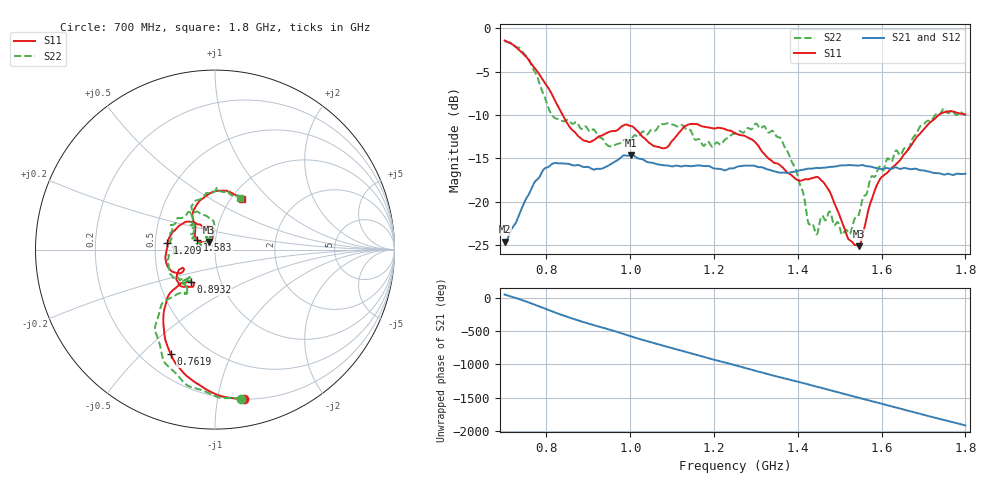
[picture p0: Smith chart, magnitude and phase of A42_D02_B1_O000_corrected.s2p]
! Created with skrf 1.9.0 (http://scikit-rf.org).
# Hz S RI R 50.0
!freq ReS11 ImS11 ReS21 ImS21 ReS12 ImS12 ReS22 ImS22
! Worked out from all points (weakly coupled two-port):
!   1601 points, 700 MHz to 1.8 GHz, reference 50 ohm
!   highest |S21| = -14.59 dB at 1.002 GHz (marker M1); lowest = -24.6 dB at 700.7 MHz (marker M2)
!   lowest |S11| = -25.1 dB at 1.546 GHz (marker M3), VSWR 1.12, Z = 46.4 + j4 ohm
!   |S11| at or under -10 dB: 838.5 MHz to 1.736 GHz (897.2 MHz wide, 69.7 % of centre)
!   |S22| runs from -23.8 to -1.5 dB; largest |S21 - S12| = 0.0035
!   S11 on the Smith chart (normalised r, x): 700 MHz: 0.20, -1.19; 761.9 MHz: 0.32, -0.62; 893.2 MHz: 0.72, -0.27; 1.209 GHz: 0.58, +0.04; 1.583 GHz: 0.81, +0.09; 1.8 GHz: 1.12, +0.70
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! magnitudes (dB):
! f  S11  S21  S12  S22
! 700 MHz  -1.4  -24.6  -24.4  -1.5
! 700.7 MHz  -1.4  -24.6  -24.3  -1.5
! 761.9 MHz  -4.0  -18.7  -18.6  -4.0
! 814.1 MHz  -7.7  -15.6  -15.7  -10.1
! 883.6 MHz  -12.7  -15.9  -15.8  -11.6
! 893.2 MHz  -13.0  -16.0  -16.0  -11.3
! 950.2 MHz  -11.9  -15.7  -15.8  -13.6
! 1.002 GHz  -11.3  -14.6  -14.7  -12.8
! 1.067 GHz  -13.7  -15.7  -15.6  -11.3
! 1.139 GHz  -11.1  -15.9  -15.8  -11.6
! 1.209 GHz  -11.5  -16.2  -16.2  -13.2
! 1.25 GHz  -12.1  -16.1  -16.0  -12.1
! 1.3 GHz  -13.2  -15.9  -15.9  -11.0
! 1.359 GHz  -15.8  -16.6  -16.6  -12.7
! 1.434 GHz  -17.3  -16.2  -16.1  -22.5
! 1.471 GHz  -18.5  -16.0  -16.0  -21.5
! 1.523 GHz  -24.4  -15.8  -15.8  -23.7
! 1.546 GHz  -25.1  -15.8  -15.8  -21.5
! 1.583 GHz  -18.8  -16.1  -16.1  -17.1
! 1.617 GHz  -16.4  -16.1  -16.1  -15.0
! 1.737 GHz  -10.0  -16.7  -16.8  -10.0
! 1.8 GHz  -9.9  -16.8  -16.8  -10.0
